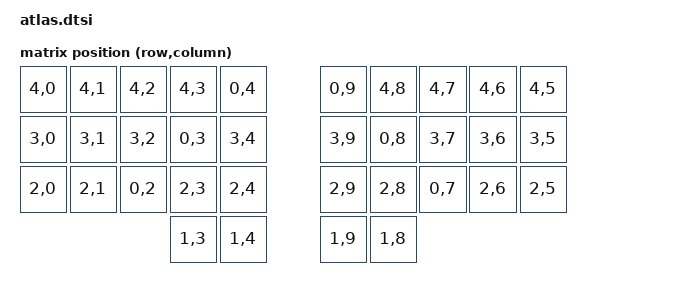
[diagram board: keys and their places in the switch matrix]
/*
 * Atlas split, 17 keys per half, charlieplexed on 5 lines + interrupt (zmk,kscan-gpio-charlieplex).
 * Generated from the routed KiCad boards (pcb/atlas-left.kicad_pcb, pcb/atlas-right.kicad_pcb).
 * Key wiring: line Pi -> switch -> 1N4148W -> line Cj, so RC(i, j) = drive i, sense j.
 * Every Cj also goes through a BAW56 to its own GPIO (blocks back-feed) and to INT (wake-up).
 */
#include <dt-bindings/zmk/matrix_transform.h>

/ {
    chosen {
        zmk,kscan = &kscan0;
        zmk,matrix-transform = &default_transform;
    };

    default_transform: keymap_transform_0 {
        compatible = "zmk,matrix-transform";
        rows = <5>;
        columns = <10>;   /* right half: col-offset 5 */
        map = <
            RC(4,0) RC(4,1) RC(4,2) RC(4,3) RC(0,4)   RC(0,9) RC(4,8) RC(4,7) RC(4,6) RC(4,5)
            RC(3,0) RC(3,1) RC(3,2) RC(0,3) RC(3,4)   RC(3,9) RC(0,8) RC(3,7) RC(3,6) RC(3,5)
            RC(2,0) RC(2,1) RC(0,2) RC(2,3) RC(2,4)   RC(2,9) RC(2,8) RC(0,7) RC(2,6) RC(2,5)
                                                    RC(1,3) RC(1,4)   RC(1,9) RC(1,8)
        >;
    };

    kscan0: kscan_0 {
        compatible = "zmk,kscan-gpio-charlieplex";
        wakeup-source;
        /* eager press (registers on first contact), 5 ms release debounce, 1 ms scan while keys are held */
        debounce-press-ms = <1>;
        debounce-release-ms = <5>;
        debounce-scan-period-ms = <1>;
    };
};
